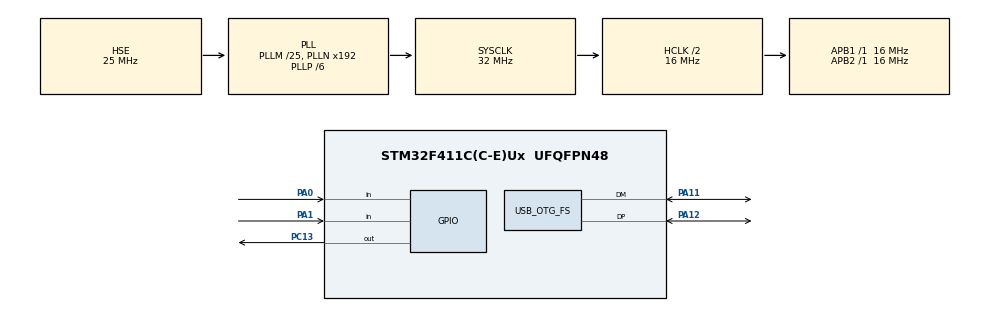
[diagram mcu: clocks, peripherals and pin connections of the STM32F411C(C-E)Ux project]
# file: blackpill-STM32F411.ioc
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FREERTOS.Tasks01=buttonTask,24,128,ButtonTask,Default,NULL,Dynamic,NULL,NULL;ledTask,24,128,LedTask,Default,NULL,Dynamic,NULL,NULL;usbTask,16,128,USBTask,Default,NULL,Dynamic,NULL,NULL
Mcu.Family=STM32F4
Mcu.Name=STM32F411C(C-E)Ux
Mcu.Package=UFQFPN48
NVIC.OTG_FS_IRQn=true\:5\:0\:false\:false\:true\:true\:false\:true
NVIC.PriorityGroup=NVIC_PRIORITYGROUP_4
NVIC.TIM1_UP_TIM10_IRQn=true\:0\:0\:false\:false\:true\:false\:false\:true
NVIC.TimeBase=TIM1_UP_TIM10_IRQn
NVIC.TimeBaseIP=TIM1
PA0-WKUP.GPIO_PuPd=GPIO_PULLUP
PA0-WKUP.Signal=GPIO_Input
PA1.GPIO_PuPd=GPIO_PULLDOWN
PA1.Signal=GPIO_Input
PA11.Mode=Device_Only
PA11.Signal=USB_OTG_FS_DM
PA12.Mode=Device_Only
PA12.Signal=USB_OTG_FS_DP
PA13.Mode=Serial_Wire
PA13.Signal=SYS_JTMS-SWDIO
PA14.Mode=Serial_Wire
PA14.Signal=SYS_JTCK-SWCLK
PC13-ANTI_TAMP.GPIO_PuPd=GPIO_PULLUP
PC13-ANTI_TAMP.Signal=GPIO_Output
PC14-OSC32_IN.Mode=LSE-External-Oscillator
PC14-OSC32_IN.Signal=RCC_OSC32_IN
PC15-OSC32_OUT.Mode=LSE-External-Oscillator
PC15-OSC32_OUT.Signal=RCC_OSC32_OUT
PH0\ -\ OSC_IN.Mode=HSE-External-Oscillator
PH0\ -\ OSC_IN.Signal=RCC_OSC_IN
PH1\ -\ OSC_OUT.Mode=HSE-External-Oscillator
PH1\ -\ OSC_OUT.Signal=RCC_OSC_OUT
ProjectManager.HeapSize=0x200
ProjectManager.StackSize=0x400
ProjectManager.TargetToolchain=STM32CubeIDE
RCC.48MHZClocksFreq_Value=48000000
RCC.AHBCLKDivider=RCC_SYSCLK_DIV2
RCC.AHBFreq_Value=16000000
RCC.APB1Freq_Value=16000000
RCC.APB1TimFreq_Value=16000000
RCC.APB2Freq_Value=16000000
RCC.APB2TimFreq_Value=16000000
RCC.CortexFreq_Value=16000000
RCC.HCLKFreq_Value=16000000
RCC.HSE_VALUE=25000000
RCC.HSI_VALUE=16000000
RCC.PLLM=25
RCC.PLLP=RCC_PLLP_DIV6
RCC.SYSCLKFreq_VALUE=32000000
RCC.SYSCLKSource=RCC_SYSCLKSOURCE_PLLCLK
RCC.VCOOutputFreq_Value=192000000
USB_DEVICE.CLASS_NAME_FS=CDC
USB_DEVICE.USBD_MAX_STR_DESC_SIZ=512
USB_DEVICE.USBD_SELF_POWERED=1
USB_DEVICE.VirtualMode=Cdc
USB_DEVICE.VirtualModeFS=Cdc_FS
USB_OTG_FS.VirtualMode=Device_Only
VP_FREERTOS_VS_CMSIS_V2.Mode=CMSIS_V2
VP_SYS_VS_tim1.Mode=TIM1
VP_USB_DEVICE_VS_USB_DEVICE_CDC_FS.Mode=CDC_FS
board=custom

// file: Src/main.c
/* USER CODE BEGIN Header */
/**
  ******************************************************************************
  * @file           : main.c
  * @brief          : Main program body
  ******************************************************************************
  * @attention
  *
  * <h2><center>&copy; Copyright (c) 2021 STMicroelectronics.
  * All rights reserved.</center></h2>
  *
  * This software component is licensed by ST under BSD 3-Clause license,
  * the "License"; You may not use this file except in compliance with the
  * License. You may obtain a copy of the License at:
  *                        opensource.org/licenses/BSD-3-Clause
  *
  ******************************************************************************
  */
/* USER CODE END Header */
#include "main.h"
#include "cmsis_os.h"
#include "usb_device.h"

/* USER CODE BEGIN Includes */
#include "usbd_cdc_if.h"

/* USER CODE END Includes */

/* USER CODE BEGIN PD */
#define MSG_INFO_SIZE 93
#define MSG_HELP_SIZE 97
/* USER CODE END PD */

/* USER CODE BEGIN PM */
uint8_t* msgINFO;
uint8_t* msgHELP;

uint32_t t_blinking, t_blinkingMem;

uint8_t bState, bStateMem;
uint8_t usbBlinkFast, usbBlinkNorm, usbBlinkSlow;
/* USER CODE END PM */

/* Definitions for buttonTask */
osThreadId_t buttonTaskHandle;
const osThreadAttr_t buttonTask_attributes = {
  .name = "buttonTask",
  .priority = (osPriority_t) osPriorityNormal,
  .stack_size = 128 * 4
};
/* Definitions for ledTask */
osThreadId_t ledTaskHandle;
const osThreadAttr_t ledTask_attributes = {
  .name = "ledTask",
  .priority = (osPriority_t) osPriorityNormal,
  .stack_size = 128 * 4
};
/* Definitions for usbTask */
osThreadId_t usbTaskHandle;
const osThreadAttr_t usbTask_attributes = {
  .name = "usbTask",
  .priority = (osPriority_t) osPriorityBelowNormal,
  .stack_size = 128 * 4
};
/* USER CODE BEGIN PV */
uint8_t DataToSend[512];    // Data to send
uint8_t RcvData[512];    // Data received
uint8_t MessageCounter = 0;    // Sent messages counter
int32_t MessageLength = 0;    // Length of the message

uint8_t ReceivedDataBuffer[512];    // Received data buffer
uint8_t ReceivedDataFlag = 0;    // Data received - flag
/* USER CODE END PV */

void SystemClock_Config(void);
static void MX_GPIO_Init(void);
void ButtonTask(void *argument);
void LedTask(void *argument);
void USBTask(void *argument);

int main(void)
{
  /* USER CODE BEGIN 1 */
	msgINFO = (uint8_t*)"#############################\n\r# STM32F411CEU6 Blackpill   #\n\r#############################\n\r";
	msgHELP = (uint8_t*)"For led blinking control type:\n\r blink fast,\n\r blink normal,\n\r blink slow\n\nFor MCU type: info\n\r\n\r";

	t_blinkingMem = 500;
  /* USER CODE END 1 */

  /* MCU Configuration--------------------------------------------------------*/

  /* Reset of all peripherals, Initializes the Flash interface and the Systick. */
  HAL_Init();

  /* Configure the system clock */
  SystemClock_Config();

  /* Initialize all configured peripherals */
  MX_GPIO_Init();

  /* Init scheduler */
  osKernelInitialize();

  /* Create the thread(s) */
  /* creation of buttonTask */
  buttonTaskHandle = osThreadNew(ButtonTask, NULL, &buttonTask_attributes);

  /* creation of ledTask */
  ledTaskHandle = osThreadNew(LedTask, NULL, &ledTask_attributes);

  /* creation of usbTask */
  usbTaskHandle = osThreadNew(USBTask, NULL, &usbTask_attributes);

  /* Start scheduler */
  osKernelStart();

  /* We should never get here as control is now taken by the scheduler */
  /* Infinite loop */
  /* USER CODE BEGIN WHILE */
  bState = 0;
  bStateMem = 0;
  usbBlinkFast = 0;
  usbBlinkNorm = 0;
  usbBlinkSlow = 0;
  t_blinking = 500;

  while (1)
  {
    /* USER CODE END WHILE */

  }
}

void SystemClock_Config(void)
{
  RCC_OscInitTypeDef RCC_OscInitStruct = {0};
  RCC_ClkInitTypeDef RCC_ClkInitStruct = {0};

  /** Configure the main internal regulator output voltage
  */
  __HAL_RCC_PWR_CLK_ENABLE();
  __HAL_PWR_VOLTAGESCALING_CONFIG(PWR_REGULATOR_VOLTAGE_SCALE1);
  /** Initializes the RCC Oscillators according to the specified parameters
  * in the RCC_OscInitTypeDef structure.
  */
  RCC_OscInitStruct.OscillatorType = RCC_OSCILLATORTYPE_HSE;
  RCC_OscInitStruct.HSEState = RCC_HSE_ON;
  RCC_OscInitStruct.PLL.PLLState = RCC_PLL_ON;
  RCC_OscInitStruct.PLL.PLLSource = RCC_PLLSOURCE_HSE;
  RCC_OscInitStruct.PLL.PLLM = 25;
  RCC_OscInitStruct.PLL.PLLN = 192;
  RCC_OscInitStruct.PLL.PLLP = RCC_PLLP_DIV6;
  RCC_OscInitStruct.PLL.PLLQ = 4;
  if (HAL_RCC_OscConfig(&RCC_OscInitStruct) != HAL_OK)
  {
    Error_Handler();
  }
  /** Initializes the CPU, AHB and APB buses clocks
  */
  RCC_ClkInitStruct.ClockType = RCC_CLOCKTYPE_HCLK|RCC_CLOCKTYPE_SYSCLK
                              |RCC_CLOCKTYPE_PCLK1|RCC_CLOCKTYPE_PCLK2;
  RCC_ClkInitStruct.SYSCLKSource = RCC_SYSCLKSOURCE_PLLCLK;
  RCC_ClkInitStruct.AHBCLKDivider = RCC_SYSCLK_DIV2;
  RCC_ClkInitStruct.APB1CLKDivider = RCC_HCLK_DIV1;
  RCC_ClkInitStruct.APB2CLKDivider = RCC_HCLK_DIV1;

  if (HAL_RCC_ClockConfig(&RCC_ClkInitStruct, FLASH_LATENCY_0) != HAL_OK)
  {
    Error_Handler();
  }
}

static void MX_GPIO_Init(void)
{
  GPIO_InitTypeDef GPIO_InitStruct = {0};

  /* GPIO Ports Clock Enable */
  __HAL_RCC_GPIOC_CLK_ENABLE();
  __HAL_RCC_GPIOH_CLK_ENABLE();
  __HAL_RCC_GPIOA_CLK_ENABLE();

  /*Configure GPIO pin Output Level */
  HAL_GPIO_WritePin(GPIOC, GPIO_PIN_13, GPIO_PIN_RESET);

  /*Configure GPIO pin : PC13 */
  GPIO_InitStruct.Pin = GPIO_PIN_13;
  GPIO_InitStruct.Mode = GPIO_MODE_OUTPUT_PP;
  GPIO_InitStruct.Pull = GPIO_PULLUP;
  GPIO_InitStruct.Speed = GPIO_SPEED_FREQ_LOW;
  HAL_GPIO_Init(GPIOC, &GPIO_InitStruct);

  /*Configure GPIO pin : PA0 */
  GPIO_InitStruct.Pin = GPIO_PIN_0;
  GPIO_InitStruct.Mode = GPIO_MODE_INPUT;
  GPIO_InitStruct.Pull = GPIO_PULLUP;
  HAL_GPIO_Init(GPIOA, &GPIO_InitStruct);

  /*Configure GPIO pin : PA1 */
  GPIO_InitStruct.Pin = GPIO_PIN_1;
  GPIO_InitStruct.Mode = GPIO_MODE_INPUT;
  GPIO_InitStruct.Pull = GPIO_PULLDOWN;
  HAL_GPIO_Init(GPIOA, &GPIO_InitStruct);

}

void ButtonTask(void *argument)
{
  /* init code for USB_DEVICE */
  MX_USB_DEVICE_Init();
  /* USER CODE BEGIN 5 */
  /* Infinite loop */
  for(;;)
  {
	  if(GPIO_PIN_SET == HAL_GPIO_ReadPin(GPIOA, GPIO_PIN_0))
	  {
		  bState = 1;
		  osDelay(30);    // Simple debounce for rising edge
	  }
	  else
	  {
		  bState = 0;
	  }
    osDelay(1);
  }
  /* USER CODE END 5 */
}

void LedTask(void *argument)
{
  /* USER CODE BEGIN LedTask */
  /* Infinite loop */
  for(;;)
  {
	  // Change from Button PA0
	  if(!bState && bStateMem)
	  {
		  bStateMem = bState;
		  t_blinking = 20;
		  osDelay(30);
	  }
	  if(bState && !bStateMem)
	  {
		  bStateMem = bState;
		  t_blinking = t_blinkingMem;
		  osDelay(30);
	  }

	  // Change from USB requests
	  if(usbBlinkFast)
	  {
		  usbBlinkFast = 0;
		  t_blinking = 50;
		  t_blinkingMem = t_blinking;
	  }
	  if(usbBlinkNorm)
	  {
		  usbBlinkNorm = 0;
		  t_blinking = 500;
		  t_blinkingMem = t_blinking;
	  }
	  if(usbBlinkSlow)
	  {
		  usbBlinkSlow = 0;
		  t_blinking = 2000;
		  t_blinkingMem = t_blinking;
	  }

	  HAL_GPIO_WritePin(GPIOC, GPIO_PIN_13, GPIO_PIN_SET);
	  osDelay(t_blinking);
	  HAL_GPIO_WritePin(GPIOC, GPIO_PIN_13, GPIO_PIN_RESET);
	  osDelay(t_blinking);

  }
  /* USER CODE END LedTask */
}

void USBTask(void *argument)
{
  /* USER CODE BEGIN USBTask */
  /* Infinite loop */
  for(;;)
  {
	  // Receive data by USB
	  if(ReceivedDataFlag == 1){
		uint8_t rcv = 0;
	  	ReceivedDataFlag = 0;
	  	if(strncmp((char*)ReceivedDataBuffer, "help", 4) == 0)
	  	{
	  		rcv = 1;
	  		CDC_Transmit_FS(msgHELP, MSG_HELP_SIZE);
	  	}
	  	if(strncmp((char*)ReceivedDataBuffer, "info", 4) == 0)
	  	{
	  		rcv = 1;
	  		CDC_Transmit_FS(msgINFO, MSG_INFO_SIZE);
	    }
	  	if(strncmp((char*)ReceivedDataBuffer, "blink fast", 10) == 0)
	    {
	  		rcv = 1;
	  		usbBlinkFast = 1;
	  		CDC_Transmit_FS("Blinking set to fast speed..\n\r", 30);
	    }
	  	if(strncmp((char*)ReceivedDataBuffer, "blink normal", 12) == 0)
	  	{
	  		rcv = 1;
	  		usbBlinkNorm = 1;
	  		CDC_Transmit_FS("Blinking set to normal speed..\n\r", 32);
	    }
	  	if(strncmp((char*)ReceivedDataBuffer, "blink slow", 10) == 0)
	  	{
	  		rcv = 1;
	  		usbBlinkSlow = 1;
	  		CDC_Transmit_FS("Blinking set to slow speed..\n\r", 30);
	    }

	  	if(!rcv)
	  	{
	  		rcv = 1;
	  		MessageLength = sprintf((char*)DataToSend, "Got other message (type: help): %s\n\r", ReceivedDataBuffer);
	  		CDC_Transmit_FS(DataToSend, MessageLength);
	  	}
	  }
    osDelay(1);
  }
  /* USER CODE END USBTask */
}

 /**
  * @brief  Period elapsed callback in non blocking mode
  * @note   This function is called  when TIM1 interrupt took place, inside
  * HAL_TIM_IRQHandler(). It makes a direct call to HAL_IncTick() to increment
  * a global variable "uwTick" used as application time base.
  * @param  htim : TIM handle
  * @retval None
  */
void HAL_TIM_PeriodElapsedCallback(TIM_HandleTypeDef *htim)
{
  if (htim->Instance == TIM1) {
    HAL_IncTick();
  }
}

void Error_Handler(void)
{
}

/************************ (C) COPYRIGHT STMicroelectronics *****END OF FILE****/
